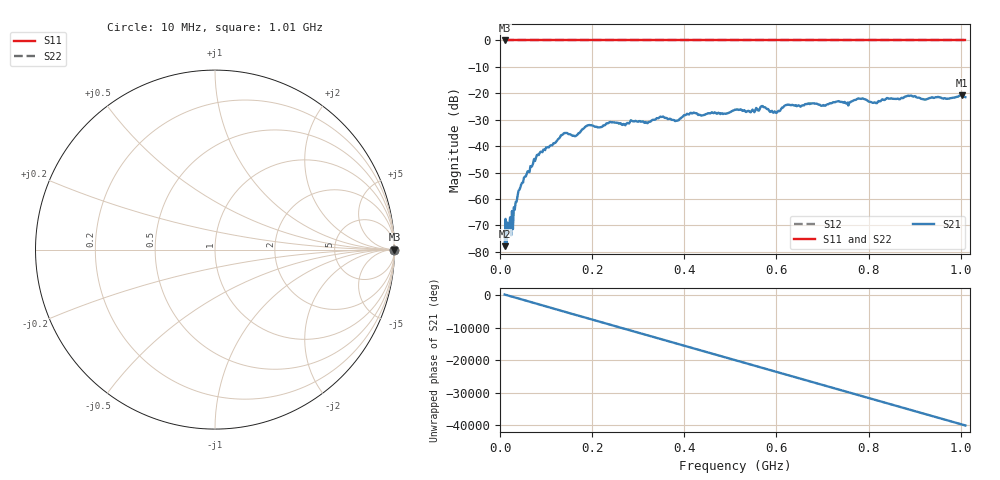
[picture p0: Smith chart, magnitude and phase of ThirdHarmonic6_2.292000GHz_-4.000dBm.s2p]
! 8/17/2025 3:02:53 AM
! C:\ANRITSUVNA\TEMP\TEMP.S2P
! CHANNEL.1
! TR.MEASUREMENT
! RAW.DATA
! RF.CORRECTION.OFF
! AVERAGING.OFF
! IF.BANDWIDTH: 5KHZ
! SWEEPTYPE:  FREQ.SWEEP(Linear)
! Reference Plane Port Info
! PORT:  PORT1  PORT2
! DISTANCE:  0  m  0  m
! TIME:  0  s  0  s
! PHASE.OFFSET:  0  deg.  0  deg.
! LOSS:  0  dB  0  dB
! REF.LOSS:  0  dB  0  dB
! REF.FREQ:  0  Hz  0  Hz
! Power Info
! POWER:  -20  dBm  -20  dBm
! EFF.POWER:  -20  dBm  -20  dBm
! SOURCE.ATTEN:  0  dB  0  dB
! TEST.ATTEN:  0  dB  0  dB
# GHZ S RI R 50.0
! FREQ.GHZ  S11RE  S11IM  S21RE  S21IM  S12RE  S12IM  S22RE  S22IM
!; PortSelection: Port_12
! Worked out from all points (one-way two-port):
!   501 points, 10 MHz to 1.01 GHz, reference 50 ohm
!   highest |S21| = -20.81 dB at 1.002 GHz (marker M1); lowest = -77.9 dB at 10 MHz (marker M2)
!   lowest |S11| = 0.0 dB at 10 MHz (marker M3)
!   |S11| at or under -10 dB: nowhere
!   |S22| runs from 0.0 to 0.0 dB; largest |S21 - S12| = 1.1
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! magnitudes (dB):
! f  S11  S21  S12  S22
! 10 MHz  0.0  -77.9  0.0  0.0
! 16 MHz  0.0  -69.0  0.0  0.0
! 28 MHz  0.0  -71.4  0.0  0.0
! 44 MHz  0.0  -55.7  0.0  0.0
! 78 MHz  0.0  -44.4  0.0  0.0
! 136 MHz  0.0  -35.6  0.0  0.0
! 162 MHz  0.0  -36.2  0.0  0.0
! 178 MHz  0.0  -33.8  0.0  0.0
! 194 MHz  0.0  -32.0  0.0  0.0
! 318 MHz  0.0  -31.1  0.0  0.0
! 344 MHz  0.0  -29.5  0.0  0.0
! 384 MHz  0.0  -30.3  0.0  0.0
! 416 MHz  0.0  -27.6  0.0  0.0
! 510 MHz  0.0  -26.2  0.0  0.0
! 570 MHz  0.0  -24.8  0.0  0.0
! 596 MHz  0.0  -26.9  0.0  0.0
! 622 MHz  0.0  -24.4  0.0  0.0
! 678 MHz  0.0  -23.9  0.0  0.0
! 814 MHz  0.0  -23.5  0.0  0.0
! 844 MHz  0.0  -22.0  0.0  0.0
! 1.002 GHz  0.0  -20.8  0.0  0.0
! 1.01 GHz  0.0  -21.4  0.0  0.0
